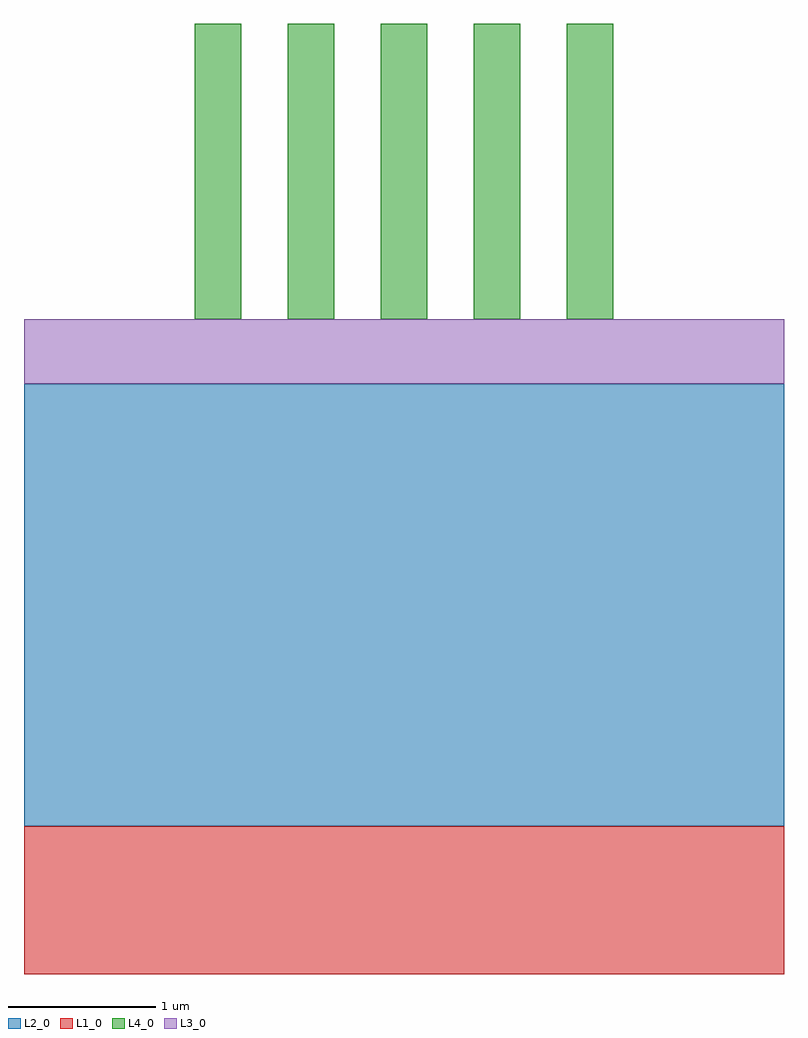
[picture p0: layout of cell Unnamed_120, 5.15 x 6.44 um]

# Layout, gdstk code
import gdstk
lib = gdstk.Library(unit=1e-6, precision=1e-09)
def R(c, l, rs):  # rectangles x0, y0, x1, y1
    for r in rs: c.add(gdstk.rectangle(r[:2], r[2:], *l))
def A(c, l, x, y, w, h, nx, ny, dx, dy):  # array of equal rectangles
    R(c, l, [(x+i*dx, y+j*dy, x+i*dx+w, y+j*dy+h) for i in range(nx) for j in range(ny)])
L1_0 = (1, 0)
L2_0 = (2, 0)
L3_0 = (3, 0)
L4_0 = (4, 0)

unnamed_120 = lib.new_cell('Unnamed_120')
R(unnamed_120, L1_0, [(0,0,5.15,1)])
R(unnamed_120, L2_0, [(0,1,5.15,4)])
R(unnamed_120, L3_0, [(0,4,5.15,4.438)])
A(unnamed_120, L4_0, 2.418, 4.438, 0.315, 2, 3, 1, 0.63, 0)
R(unnamed_120, L4_0, [(1.158,4.438,1.473,6.438), (1.787,4.438,2.102,6.438)])

lib.write_gds('Unnamed_120.gds')
